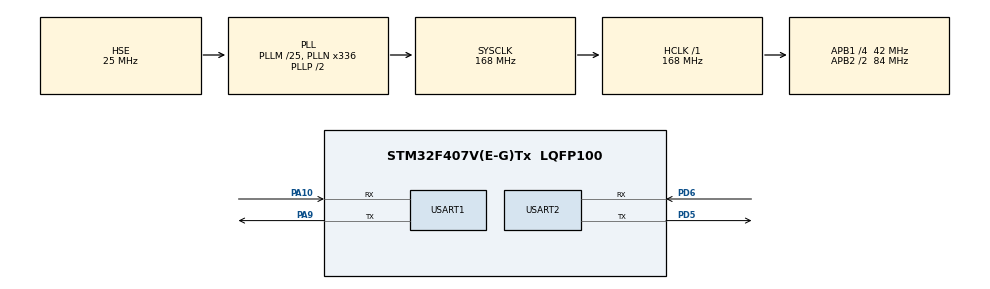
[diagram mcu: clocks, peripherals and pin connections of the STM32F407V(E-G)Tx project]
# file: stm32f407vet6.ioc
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Dma.Request0=USART2_RX
Dma.Request1=USART1_RX
Dma.USART1_RX.1.Direction=DMA_PERIPH_TO_MEMORY
Dma.USART1_RX.1.FIFOMode=DMA_FIFOMODE_DISABLE
Dma.USART1_RX.1.Instance=DMA2_Stream2
Dma.USART1_RX.1.MemDataAlignment=DMA_MDATAALIGN_BYTE
Dma.USART1_RX.1.MemInc=DMA_MINC_ENABLE
Dma.USART1_RX.1.Mode=DMA_NORMAL
Dma.USART1_RX.1.PeriphDataAlignment=DMA_PDATAALIGN_BYTE
Dma.USART1_RX.1.PeriphInc=DMA_PINC_DISABLE
Dma.USART1_RX.1.Priority=DMA_PRIORITY_LOW
Dma.USART2_RX.0.Direction=DMA_PERIPH_TO_MEMORY
Dma.USART2_RX.0.FIFOMode=DMA_FIFOMODE_DISABLE
Dma.USART2_RX.0.Instance=DMA1_Stream5
Dma.USART2_RX.0.MemDataAlignment=DMA_MDATAALIGN_BYTE
Dma.USART2_RX.0.MemInc=DMA_MINC_ENABLE
Dma.USART2_RX.0.Mode=DMA_NORMAL
Dma.USART2_RX.0.PeriphDataAlignment=DMA_PDATAALIGN_BYTE
Dma.USART2_RX.0.PeriphInc=DMA_PINC_DISABLE
Dma.USART2_RX.0.Priority=DMA_PRIORITY_LOW
IWDG.Prescaler=IWDG_PRESCALER_256
IWDG.Reload=1000
Mcu.Family=STM32F4
Mcu.Name=STM32F407V(E-G)Tx
Mcu.Package=LQFP100
NVIC.DMA1_Stream5_IRQn=true\:1\:0\:true\:false\:true\:false\:true\:true
NVIC.DMA2_Stream2_IRQn=true\:1\:0\:true\:false\:true\:false\:true\:true
NVIC.PriorityGroup=NVIC_PRIORITYGROUP_4
NVIC.USART1_IRQn=true\:0\:0\:false\:false\:true\:true\:true\:true
NVIC.USART2_IRQn=true\:0\:0\:false\:false\:true\:true\:true\:true
PA10.Mode=Asynchronous
PA10.Signal=USART1_RX
PA13.Mode=Serial_Wire
PA13.Signal=SYS_JTMS-SWDIO
PA14.Mode=Serial_Wire
PA14.Signal=SYS_JTCK-SWCLK
PA9.Mode=Asynchronous
PA9.Signal=USART1_TX
PD5.Mode=Asynchronous
PD5.Signal=USART2_TX
PD6.Mode=Asynchronous
PD6.Signal=USART2_RX
PH0-OSC_IN.Mode=HSE-External-Oscillator
PH0-OSC_IN.Signal=RCC_OSC_IN
PH1-OSC_OUT.Mode=HSE-External-Oscillator
PH1-OSC_OUT.Signal=RCC_OSC_OUT
ProjectManager.HeapSize=0x4000
ProjectManager.StackSize=0x1000
ProjectManager.TargetToolchain=MDK-ARM V5.32
RCC.48MHZClocksFreq_Value=84000000
RCC.AHBFreq_Value=168000000
RCC.APB1CLKDivider=RCC_HCLK_DIV4
RCC.APB1Freq_Value=42000000
RCC.APB1TimFreq_Value=84000000
RCC.APB2CLKDivider=RCC_HCLK_DIV2
RCC.APB2Freq_Value=84000000
RCC.APB2TimFreq_Value=168000000
RCC.CortexFreq_Value=168000000
RCC.HCLKFreq_Value=168000000
RCC.HSE_VALUE=25000000
RCC.HSI_VALUE=16000000
RCC.LSE_VALUE=32768
RCC.PLLM=25
RCC.PLLN=336
RCC.PLLSourceVirtual=RCC_PLLSOURCE_HSE
RCC.SYSCLKFreq_VALUE=168000000
RCC.SYSCLKSource=RCC_SYSCLKSOURCE_PLLCLK
RCC.VCOOutputFreq_Value=336000000
USART1.VirtualMode=VM_ASYNC
USART2.VirtualMode=VM_ASYNC
VP_IWDG_VS_IWDG.Mode=IWDG_Activate
board=custom

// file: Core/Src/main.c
/* USER CODE BEGIN Header */
/**
  ******************************************************************************
  * @file           : main.c
  * @brief          : Main program body
  ******************************************************************************
  * @attention
  *
  * Copyright (c) 2025 STMicroelectronics.
  * All rights reserved.
  *
  * This software is licensed under terms that can be found in the LICENSE file
  * in the root directory of this software component.
  * If no LICENSE file comes with this software, it is provided AS-IS.
  *
  ******************************************************************************
  */
/* USER CODE END Header */
#include "main.h"
#include "dma.h"
#include "iwdg.h"
#include "usart.h"
#include "gpio.h"

/* USER CODE BEGIN Includes */
#include "bootloader.h"
#include "flash.h"
#include <stdio.h>
#include <string.h>
#include "uart_interact.h"
#include "log.h"
/* USER CODE END Includes */

/* USER CODE BEGIN PV */
static const char* TAG = "main";
/* USER CODE END PV */

void SystemClock_Config(void);

int main(void)
{

  /* MCU Configuration--------------------------------------------------------*/

  /* Reset of all peripherals, Initializes the Flash interface and the Systick. */
  HAL_Init();

  /* Configure the system clock */
  SystemClock_Config();

  /* Initialize all configured peripherals */
  MX_GPIO_Init();
  MX_DMA_Init();
  MX_USART1_UART_Init();
  MX_USART2_UART_Init();
  /* USER CODE BEGIN 2 */
  LOG_INFO(TAG, "\r\nThis is BootLoader code\r\n");
  bootloader_init();

  check_wakeup_singal();

  LOG_INFO(TAG, "Checking update flag ...\r\n");
  int res = bootloader_checkupdate();
  if(res == 0){
	LOG_INFO(TAG, "No version to update, ready to launch APP1\r\n");
    HAL_UART_MspDeInit(&huart1);   // 清除外设
	HAL_UART_MspDeInit(&huart2);
	bootloader_executeapp();
  }else{
	LOG_INFO(TAG, "Updating new version ...\r\n");
    bootloader_updateapp();
	LOG_INFO(TAG, "Ready to launch APP\r\n");
	HAL_UART_MspDeInit(&huart1);   // 清除外设
	HAL_UART_MspDeInit(&huart2);
	MX_IWDG_Init();// 开启看门狗（8s）
    bootloader_executeapp();
  }

  /* USER CODE END 2 */

  /* Infinite loop */
  while (1)
  {

  }
}

void SystemClock_Config(void)
{
  RCC_OscInitTypeDef RCC_OscInitStruct = {0};
  RCC_ClkInitTypeDef RCC_ClkInitStruct = {0};

  /** Configure the main internal regulator output voltage
  */
  __HAL_RCC_PWR_CLK_ENABLE();
  __HAL_PWR_VOLTAGESCALING_CONFIG(PWR_REGULATOR_VOLTAGE_SCALE1);

  /** Initializes the RCC Oscillators according to the specified parameters
  * in the RCC_OscInitTypeDef structure.
  */
  RCC_OscInitStruct.OscillatorType = RCC_OSCILLATORTYPE_LSI|RCC_OSCILLATORTYPE_HSE;
  RCC_OscInitStruct.HSEState = RCC_HSE_ON;
  RCC_OscInitStruct.LSIState = RCC_LSI_ON;
  RCC_OscInitStruct.PLL.PLLState = RCC_PLL_ON;
  RCC_OscInitStruct.PLL.PLLSource = RCC_PLLSOURCE_HSE;
  RCC_OscInitStruct.PLL.PLLM = 25;
  RCC_OscInitStruct.PLL.PLLN = 336;
  RCC_OscInitStruct.PLL.PLLP = RCC_PLLP_DIV2;
  RCC_OscInitStruct.PLL.PLLQ = 4;
  if (HAL_RCC_OscConfig(&RCC_OscInitStruct) != HAL_OK)
  {
    Error_Handler();
  }

  /** Initializes the CPU, AHB and APB buses clocks
  */
  RCC_ClkInitStruct.ClockType = RCC_CLOCKTYPE_HCLK|RCC_CLOCKTYPE_SYSCLK
                              |RCC_CLOCKTYPE_PCLK1|RCC_CLOCKTYPE_PCLK2;
  RCC_ClkInitStruct.SYSCLKSource = RCC_SYSCLKSOURCE_PLLCLK;
  RCC_ClkInitStruct.AHBCLKDivider = RCC_SYSCLK_DIV1;
  RCC_ClkInitStruct.APB1CLKDivider = RCC_HCLK_DIV4;
  RCC_ClkInitStruct.APB2CLKDivider = RCC_HCLK_DIV2;

  if (HAL_RCC_ClockConfig(&RCC_ClkInitStruct, FLASH_LATENCY_5) != HAL_OK)
  {
    Error_Handler();
  }
}

void Error_Handler(void)
{
  __disable_irq();
  while (1)
  {
  }
}
